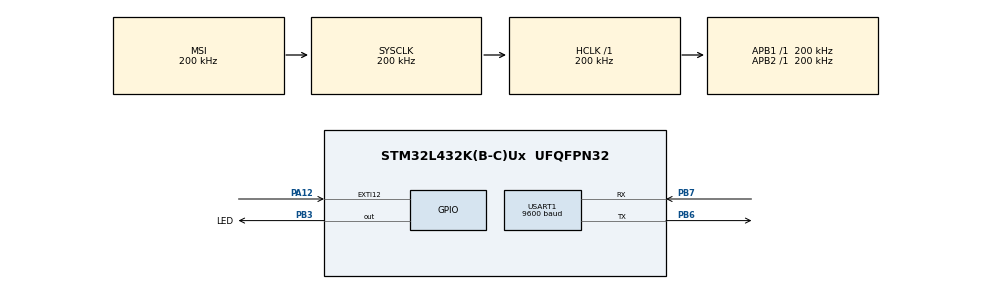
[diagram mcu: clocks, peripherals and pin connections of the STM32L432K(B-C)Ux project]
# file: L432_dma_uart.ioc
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Dma.Request0=USART1_RX
Dma.Request1=USART1_TX
Dma.USART1_RX.0.Direction=DMA_PERIPH_TO_MEMORY
Dma.USART1_RX.0.Instance=DMA1_Channel5
Dma.USART1_RX.0.MemDataAlignment=DMA_MDATAALIGN_BYTE
Dma.USART1_RX.0.MemInc=DMA_MINC_ENABLE
Dma.USART1_RX.0.Mode=DMA_NORMAL
Dma.USART1_RX.0.PeriphDataAlignment=DMA_PDATAALIGN_BYTE
Dma.USART1_RX.0.PeriphInc=DMA_PINC_DISABLE
Dma.USART1_RX.0.Priority=DMA_PRIORITY_VERY_HIGH
Dma.USART1_TX.1.Direction=DMA_MEMORY_TO_PERIPH
Dma.USART1_TX.1.Instance=DMA1_Channel4
Dma.USART1_TX.1.MemDataAlignment=DMA_MDATAALIGN_BYTE
Dma.USART1_TX.1.MemInc=DMA_MINC_ENABLE
Dma.USART1_TX.1.Mode=DMA_NORMAL
Dma.USART1_TX.1.PeriphDataAlignment=DMA_PDATAALIGN_BYTE
Dma.USART1_TX.1.PeriphInc=DMA_PINC_DISABLE
Dma.USART1_TX.1.Priority=DMA_PRIORITY_LOW
Mcu.Family=STM32L4
Mcu.Name=STM32L432K(B-C)Ux
Mcu.Package=UFQFPN32
NVIC.DMA1_Channel4_IRQn=true\:0\:0\:false\:false\:true\:false\:true
NVIC.DMA1_Channel5_IRQn=true\:1\:0\:true\:false\:true\:false\:true
NVIC.EXTI15_10_IRQn=true\:2\:0\:true\:false\:true\:true\:true
NVIC.PriorityGroup=NVIC_PRIORITYGROUP_4
NVIC.USART1_IRQn=true\:0\:0\:true\:false\:true\:true\:true
PA12.Signal=GPXTI12
PA13\ (JTMS-SWDIO).Mode=Serial_Wire
PA13\ (JTMS-SWDIO).Signal=SYS_JTMS-SWDIO
PA14\ (JTCK-SWCLK).Mode=Serial_Wire
PA14\ (JTCK-SWCLK).Signal=SYS_JTCK-SWCLK
PB3\ (JTDO-TRACESWO).GPIO_Label=LED
PB3\ (JTDO-TRACESWO).Signal=GPIO_Output
PB6.Mode=Asynchronous
PB6.Signal=USART1_TX
PB7.Mode=Asynchronous
PB7.Signal=USART1_RX
ProjectManager.HeapSize=0x200
ProjectManager.StackSize=0x400
ProjectManager.TargetToolchain=MDK-ARM V5.27
RCC.ADCFreq_Value=800000
RCC.AHBFreq_Value=200000
RCC.APB1Freq_Value=200000
RCC.APB1TimFreq_Value=200000
RCC.APB2Freq_Value=200000
RCC.APB2TimFreq_Value=200000
RCC.CortexFreq_Value=200000
RCC.HCLKFreq_Value=200000
RCC.HSE_VALUE=8000000
RCC.HSI16_VALUE=16000000
RCC.HSI48_VALUE=48000000
RCC.HSICalibrationValue=0
RCC.HSI_VALUE=16000000
RCC.LSE_VALUE=1000000
RCC.MSIClockRange=RCC_MSIRANGE_1
RCC.MSI_VALUE=200000
RCC.PLLMUL=RCC_PLLMUL_4
RCC.PLLN=16
RCC.SYSCLKFreq_VALUE=200000
RCC.USBFreq_Value=800000
RCC.VCOOutputFreq_Value=3200000
USART1.BaudRate=9600
USART1.VirtualMode-Asynchronous=VM_ASYNC
board=NUCLEO-L432KC

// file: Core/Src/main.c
/* USER CODE BEGIN Header */
/**
  ******************************************************************************
  * @file           : main.c
  * @brief          : Main program body
  ******************************************************************************
  * @attention
  *
  * <h2><center>&copy; Copyright (c) 2020 STMicroelectronics.
  * All rights reserved.</center></h2>
  *
  * This software component is licensed by ST under BSD 3-Clause license,
  * the "License"; You may not use this file except in compliance with the
  * License. You may obtain a copy of the License at:
  *                        opensource.org/licenses/BSD-3-Clause
  *
  ******************************************************************************
  */
/* USER CODE END Header */
#include "main.h"

UART_HandleTypeDef huart1;
DMA_HandleTypeDef hdma_usart1_rx;
DMA_HandleTypeDef hdma_usart1_tx;

/* USER CODE BEGIN PV */
static void SystemPower_Config(void);
/* USER CODE END PV */

void SystemClock_Config(void);
static void MX_GPIO_Init(void);
static void MX_DMA_Init(void);
static void MX_USART1_UART_Init(void);

/* USER CODE BEGIN 0 */
uint8_t uart_buffer[100];
/* USER CODE END 0 */

int main(void)
{

  /* MCU Configuration--------------------------------------------------------*/

  /* Reset of all peripherals, Initializes the Flash interface and the Systick. */
  HAL_Init();

  /* Configure the system clock */
  SystemClock_Config();

  /* USER CODE BEGIN SysInit */
	SystemPower_Config();
  /* USER CODE END SysInit */

  /* Initialize all configured peripherals */
  MX_GPIO_Init();
  MX_DMA_Init();
  MX_USART1_UART_Init();
  /* USER CODE BEGIN 2 */
	HAL_Delay(200);

  __HAL_FLASH_PREFETCH_BUFFER_DISABLE();
  __HAL_FLASH_SLEEP_POWERDOWN_ENABLE();
    HAL_GPIO_WritePin(LED_GPIO_Port, LED_Pin, 1);
    HAL_Delay(5000);
    HAL_GPIO_WritePin(LED_GPIO_Port, LED_Pin, 0);

		__HAL_RCC_DMA1_CLK_SLEEP_ENABLE();
		__HAL_RCC_USART1_CLK_SLEEP_ENABLE();

		HAL_UART_Receive_DMA(&huart1, uart_buffer, 3);
		HAL_PWR_EnableSleepOnExit();

		HAL_SuspendTick();
		HAL_PWR_EnterSLEEPMode(PWR_LOWPOWERREGULATOR_ON, PWR_SLEEPENTRY_WFI);
  /* USER CODE END 2 */

  /* Infinite loop */
  while (1)
  {

  }
}

void SystemClock_Config(void)
{
  RCC_OscInitTypeDef RCC_OscInitStruct = {0};
  RCC_ClkInitTypeDef RCC_ClkInitStruct = {0};
  RCC_PeriphCLKInitTypeDef PeriphClkInit = {0};

  /** Initializes the RCC Oscillators according to the specified parameters
  * in the RCC_OscInitTypeDef structure.
  */
  RCC_OscInitStruct.OscillatorType = RCC_OSCILLATORTYPE_MSI;
  RCC_OscInitStruct.MSIState = RCC_MSI_ON;
  RCC_OscInitStruct.MSICalibrationValue = 0;
  RCC_OscInitStruct.MSIClockRange = RCC_MSIRANGE_1;
  RCC_OscInitStruct.PLL.PLLState = RCC_PLL_NONE;
  if (HAL_RCC_OscConfig(&RCC_OscInitStruct) != HAL_OK)
  {
    Error_Handler();
  }
  /** Initializes the CPU, AHB and APB buses clocks
  */
  RCC_ClkInitStruct.ClockType = RCC_CLOCKTYPE_HCLK|RCC_CLOCKTYPE_SYSCLK
                              |RCC_CLOCKTYPE_PCLK1|RCC_CLOCKTYPE_PCLK2;
  RCC_ClkInitStruct.SYSCLKSource = RCC_SYSCLKSOURCE_MSI;
  RCC_ClkInitStruct.AHBCLKDivider = RCC_SYSCLK_DIV1;
  RCC_ClkInitStruct.APB1CLKDivider = RCC_HCLK_DIV1;
  RCC_ClkInitStruct.APB2CLKDivider = RCC_HCLK_DIV1;

  if (HAL_RCC_ClockConfig(&RCC_ClkInitStruct, FLASH_LATENCY_0) != HAL_OK)
  {
    Error_Handler();
  }
  PeriphClkInit.PeriphClockSelection = RCC_PERIPHCLK_USART1;
  PeriphClkInit.Usart1ClockSelection = RCC_USART1CLKSOURCE_PCLK2;
  if (HAL_RCCEx_PeriphCLKConfig(&PeriphClkInit) != HAL_OK)
  {
    Error_Handler();
  }
  /** Configure the main internal regulator output voltage
  */
  if (HAL_PWREx_ControlVoltageScaling(PWR_REGULATOR_VOLTAGE_SCALE1) != HAL_OK)
  {
    Error_Handler();
  }
}

static void MX_USART1_UART_Init(void)
{

  huart1.Instance = USART1;
  huart1.Init.BaudRate = 9600;
  huart1.Init.WordLength = UART_WORDLENGTH_8B;
  huart1.Init.StopBits = UART_STOPBITS_1;
  huart1.Init.Parity = UART_PARITY_NONE;
  huart1.Init.Mode = UART_MODE_TX_RX;
  huart1.Init.HwFlowCtl = UART_HWCONTROL_NONE;
  huart1.Init.OverSampling = UART_OVERSAMPLING_16;
  huart1.Init.OneBitSampling = UART_ONE_BIT_SAMPLE_DISABLE;
  huart1.AdvancedInit.AdvFeatureInit = UART_ADVFEATURE_NO_INIT;
  if (HAL_UART_Init(&huart1) != HAL_OK)
  {
    Error_Handler();
  }

}

static void MX_DMA_Init(void)
{

  /* DMA controller clock enable */
  __HAL_RCC_DMA1_CLK_ENABLE();

  /* DMA interrupt init */
  /* DMA1_Channel4_IRQn interrupt configuration */
  HAL_NVIC_SetPriority(DMA1_Channel4_IRQn, 0, 0);
  HAL_NVIC_EnableIRQ(DMA1_Channel4_IRQn);
  /* DMA1_Channel5_IRQn interrupt configuration */
  HAL_NVIC_SetPriority(DMA1_Channel5_IRQn, 1, 0);
  HAL_NVIC_EnableIRQ(DMA1_Channel5_IRQn);

}

static void MX_GPIO_Init(void)
{
  GPIO_InitTypeDef GPIO_InitStruct = {0};

  /* GPIO Ports Clock Enable */
  __HAL_RCC_GPIOA_CLK_ENABLE();
  __HAL_RCC_GPIOB_CLK_ENABLE();

  /*Configure GPIO pin Output Level */
  HAL_GPIO_WritePin(LED_GPIO_Port, LED_Pin, GPIO_PIN_RESET);

  /*Configure GPIO pin : PA12 */
  GPIO_InitStruct.Pin = GPIO_PIN_12;
  GPIO_InitStruct.Mode = GPIO_MODE_IT_RISING;
  GPIO_InitStruct.Pull = GPIO_NOPULL;
  HAL_GPIO_Init(GPIOA, &GPIO_InitStruct);

  /*Configure GPIO pin : LED_Pin */
  GPIO_InitStruct.Pin = LED_Pin;
  GPIO_InitStruct.Mode = GPIO_MODE_OUTPUT_PP;
  GPIO_InitStruct.Pull = GPIO_NOPULL;
  GPIO_InitStruct.Speed = GPIO_SPEED_FREQ_LOW;
  HAL_GPIO_Init(LED_GPIO_Port, &GPIO_InitStruct);

  /* EXTI interrupt init*/
  HAL_NVIC_SetPriority(EXTI15_10_IRQn, 2, 0);
  HAL_NVIC_EnableIRQ(EXTI15_10_IRQn);

}

/* USER CODE BEGIN 4 */
void HAL_UART_RxCpltCallback(UART_HandleTypeDef *huart) {
  if (huart == &huart1) {
	  HAL_UART_Transmit_DMA(&huart1, uart_buffer, 3);
  }
}

void HAL_UART_TxCpltCallback(UART_HandleTypeDef *huart) {
  if (huart == &huart1) {
	  HAL_UART_Receive_DMA(&huart1, uart_buffer, 3);
  }
}

static void SystemPower_Config(void)
{
  GPIO_InitTypeDef GPIO_InitStructure;

  /* Enable Power Clock */
  __HAL_RCC_PWR_CLK_ENABLE();

/* Enable GPIOs clock */
    __HAL_RCC_GPIOA_CLK_ENABLE();
    __HAL_RCC_GPIOB_CLK_ENABLE();
    __HAL_RCC_GPIOC_CLK_ENABLE();
    __HAL_RCC_GPIOH_CLK_ENABLE();

    /* Configure all GPIO port pins in Analog Input mode (floating input trigger OFF) */
    /* Note: Debug using ST-Link is not possible during the execution of this   */
    /*       example because communication between ST-link and the device       */
    /*       under test is done through UART. All GPIO pins are disabled (set   */
    /*       to analog input mode) including  UART I/O pins.           */
    GPIO_InitStructure.Pin = GPIO_PIN_All;
    GPIO_InitStructure.Mode = GPIO_MODE_ANALOG;
    GPIO_InitStructure.Pull = GPIO_NOPULL;

    HAL_GPIO_Init(GPIOA, &GPIO_InitStructure);
    HAL_GPIO_Init(GPIOB, &GPIO_InitStructure);
    HAL_GPIO_Init(GPIOC, &GPIO_InitStructure);
    HAL_GPIO_Init(GPIOH, &GPIO_InitStructure);

    /* Disable GPIOs clock */
    __HAL_RCC_GPIOA_CLK_DISABLE();
    __HAL_RCC_GPIOB_CLK_DISABLE();
    __HAL_RCC_GPIOC_CLK_DISABLE();
    __HAL_RCC_GPIOH_CLK_DISABLE();
}

/* USER CODE END 4 */

void Error_Handler(void)
{
}

/************************ (C) COPYRIGHT STMicroelectronics *****END OF FILE****/
